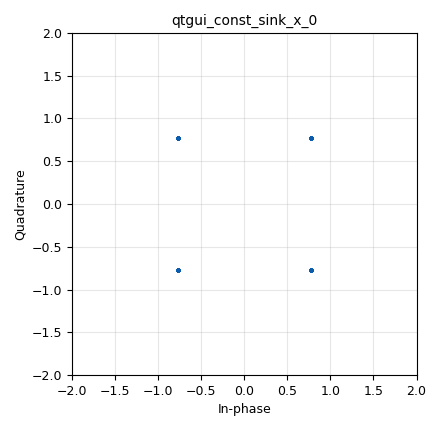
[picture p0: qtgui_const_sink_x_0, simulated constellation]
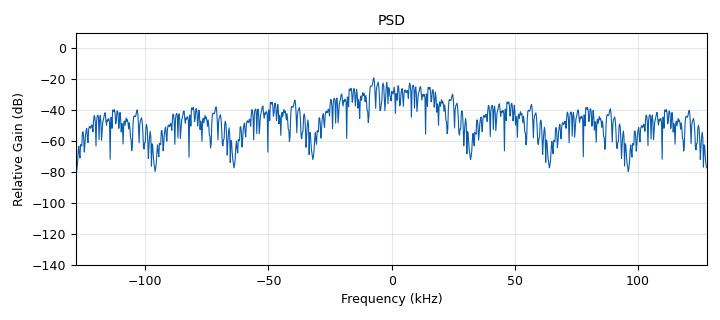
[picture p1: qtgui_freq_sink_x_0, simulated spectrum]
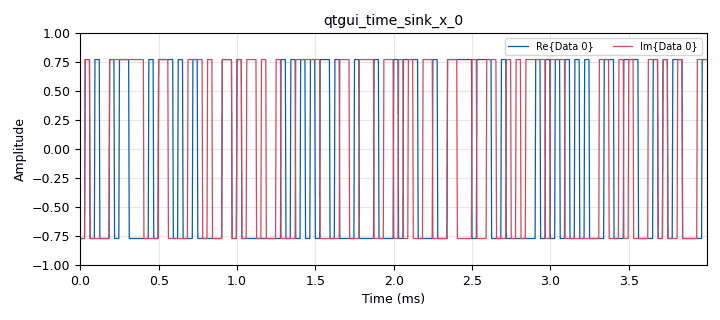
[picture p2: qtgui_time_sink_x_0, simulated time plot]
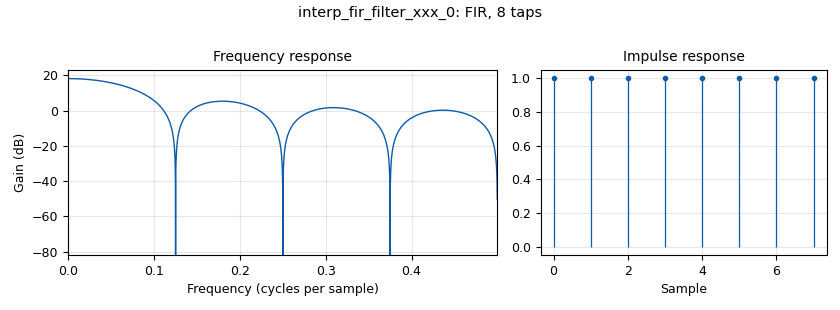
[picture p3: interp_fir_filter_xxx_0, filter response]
options:
  parameters:
    generate_options: qt_gui
    id: MPSK
    output_language: python
    title: Not titled yet
  states: {}

blocks:
- name: M
  id: variable
  parameters:
    value: len(tabla_de_verdad_constelacion)
  states: {}
- name: Rb
  id: variable
  parameters:
    value: '64000'
  states: {}
- name: Rs
  id: variable
  parameters:
    value: '32000'
  states: {}
- name: bps
  id: variable
  parameters:
    value: int(math.log(M,2))
  states: {}
- name: h
  id: variable
  parameters:
    value: '[1]*sps'
  states: {}
- name: samp_rate
  id: variable
  parameters:
    value: Rs*sps
  states: {}
- name: sps
  id: variable
  parameters:
    value: '8'
  states: {}
- name: tabla_de_verdad_constelacion
  id: variable
  parameters:
    value: (0.77+0.77j, -0.77+0.77j,-0.77-0.77j,0.77-0.77j)
  states: {}
- name: analog_random_source_x_0
  id: analog_random_source_x
  parameters:
    max: '2'
    min: '0'
    num_samps: '1000'
    repeat: 'True'
    type: byte
  states: {}
- name: blocks_pack_k_bits_bb_0
  id: blocks_pack_k_bits_bb
  parameters:
    k: '8'
  states: {}
- name: blocks_packed_to_unpacked_xx_0
  id: blocks_packed_to_unpacked_xx
  parameters:
    bits_per_chunk: bps
    endianness: gr.GR_MSB_FIRST
    type: byte
  states: {}
- name: blocks_vector_source_x_0
  id: blocks_vector_source_x
  parameters:
    repeat: 'True'
    type: int
    vector: (0, 1, 2, 3)
  states: {state: disabled}
- name: digital_chunks_to_symbols_xx_0
  id: digital_chunks_to_symbols_xx
  parameters:
    dimension: '1'
    in_type: byte
    out_type: complex
    symbol_table: tabla_de_verdad_constelacion
  states: {}
- name: import_0
  id: import
  parameters:
    imports: import math
  states: {}
- name: interp_fir_filter_xxx_0
  id: interp_fir_filter_xxx
  parameters:
    interp: '8'
    taps: h
    type: ccf
  states: {}
- name: qtgui_const_sink_x_0
  id: qtgui_const_sink_x
  parameters:
    size: '1024'
    type: complex
  states: {}
- name: qtgui_freq_sink_x_0
  id: qtgui_freq_sink_x
  parameters:
    bw: samp_rate
    fc: '0'
    fftsize: '1024'
    name: PSD
    type: complex
  states: {}
- name: qtgui_time_sink_x_0
  id: qtgui_time_sink_x
  parameters:
    size: '1024'
    srate: samp_rate
    type: complex
  states: {}

connections:
- [analog_random_source_x_0, '0', blocks_pack_k_bits_bb_0, '0']
- [blocks_pack_k_bits_bb_0, '0', blocks_packed_to_unpacked_xx_0, '0']
- [blocks_packed_to_unpacked_xx_0, '0', digital_chunks_to_symbols_xx_0, '0']
- [blocks_vector_source_x_0, '0', digital_chunks_to_symbols_xx_0, '0']
- [digital_chunks_to_symbols_xx_0, '0', interp_fir_filter_xxx_0, '0']
- [interp_fir_filter_xxx_0, '0', qtgui_const_sink_x_0, '0']
- [interp_fir_filter_xxx_0, '0', qtgui_freq_sink_x_0, '0']
- [interp_fir_filter_xxx_0, '0', qtgui_time_sink_x_0, '0']

metadata:
  file_format: 1
  grc_version: v3.10.11.0-89-ga17f69e7
